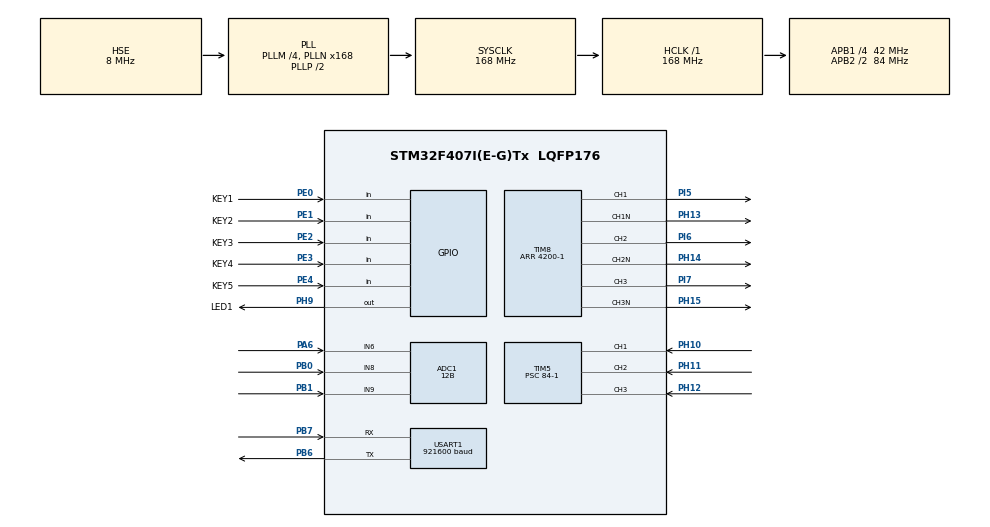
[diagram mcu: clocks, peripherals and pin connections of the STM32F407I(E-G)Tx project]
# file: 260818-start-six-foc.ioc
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ADC1.Channel-0\#ChannelRegularConversion=ADC_CHANNEL_6
ADC1.Channel-1\#ChannelRegularConversion=ADC_CHANNEL_8
ADC1.Channel-2\#ChannelRegularConversion=ADC_CHANNEL_9
ADC1.ClockPrescaler=ADC_CLOCK_SYNC_PCLK_DIV4
ADC1.ContinuousConvMode=DISABLE
ADC1.DMAContinuousRequests=DISABLE
ADC1.DataAlign=ADC_DATAALIGN_RIGHT
ADC1.DiscontinuousConvMode=DISABLE
ADC1.EOCSelection=ADC_EOC_SINGLE_CONV
ADC1.ExternalTrigConv=ADC_SOFTWARE_START
ADC1.ExternalTrigConvEdge=ADC_EXTERNALTRIGCONVEDGE_NONE
ADC1.NbrOfConversion=3
ADC1.NbrOfConversionFlag=1
ADC1.Rank-0\#ChannelRegularConversion=1
ADC1.Rank-1\#ChannelRegularConversion=2
ADC1.Rank-2\#ChannelRegularConversion=3
ADC1.Resolution=ADC_RESOLUTION_12B
ADC1.SamplingTime-0\#ChannelRegularConversion=ADC_SAMPLETIME_84CYCLES
ADC1.SamplingTime-1\#ChannelRegularConversion=ADC_SAMPLETIME_84CYCLES
ADC1.SamplingTime-2\#ChannelRegularConversion=ADC_SAMPLETIME_84CYCLES
ADC1.ScanConvMode=ENABLE
ADC1.master=1
Mcu.Family=STM32F4
Mcu.Name=STM32F407I(E-G)Tx
Mcu.Package=LQFP176
NVIC.PriorityGroup=NVIC_PRIORITYGROUP_4
NVIC.TIM5_IRQn=true\:0\:0\:false\:false\:true\:true\:true\:true
NVIC.TIM8_CC_IRQn=true\:0\:0\:false\:false\:true\:true\:true\:true
PA13.Mode=Serial_Wire
PA13.Signal=SYS_JTMS-SWDIO
PA14.Mode=Serial_Wire
PA14.Signal=SYS_JTCK-SWCLK
PA6.Signal=ADCx_IN6
PB0.Signal=ADCx_IN8
PB1.Signal=ADCx_IN9
PB6.Mode=Asynchronous
PB6.Signal=USART1_TX
PB7.Mode=Asynchronous
PB7.Signal=USART1_RX
PC14-OSC32_IN.Mode=LSE-External-Oscillator
PC14-OSC32_IN.Signal=RCC_OSC32_IN
PC15-OSC32_OUT.Mode=LSE-External-Oscillator
PC15-OSC32_OUT.Signal=RCC_OSC32_OUT
PE0.GPIO_Label=KEY1
PE0.GPIO_PuPd=GPIO_PULLUP
PE0.Signal=GPIO_Input
PE1.GPIO_Label=KEY2
PE1.GPIO_PuPd=GPIO_PULLUP
PE1.Signal=GPIO_Input
PE2.GPIO_Label=KEY3
PE2.GPIO_PuPd=GPIO_PULLUP
PE2.Signal=GPIO_Input
PE3.GPIO_Label=KEY4
PE3.GPIO_PuPd=GPIO_PULLUP
PE3.Signal=GPIO_Input
PE4.GPIO_Label=KEY5
PE4.GPIO_PuPd=GPIO_PULLUP
PE4.Signal=GPIO_Input
PH0-OSC_IN.Mode=HSE-External-Oscillator
PH0-OSC_IN.Signal=RCC_OSC_IN
PH1-OSC_OUT.Mode=HSE-External-Oscillator
PH1-OSC_OUT.Signal=RCC_OSC_OUT
PH10.Signal=S_TIM5_CH1
PH11.Signal=S_TIM5_CH2
PH12.Signal=S_TIM5_CH3
PH13.Mode=PWM Generation1 CH1 CH1N
PH13.Signal=TIM8_CH1N
PH14.Mode=PWM Generation2 CH2 CH2N
PH14.Signal=TIM8_CH2N
PH15.Mode=PWM Generation3 CH3 CH3N
PH15.Signal=TIM8_CH3N
PH9.GPIO_Label=LED1
PH9.Signal=GPIO_Output
PI5.Signal=S_TIM8_CH1
PI6.Signal=S_TIM8_CH2
PI7.Signal=S_TIM8_CH3
ProjectManager.HeapSize=0x200
ProjectManager.StackSize=0x400
ProjectManager.TargetToolchain=MDK-ARM V5.32
RCC.48MHZClocksFreq_Value=84000000
RCC.AHBFreq_Value=168000000
RCC.APB1CLKDivider=RCC_HCLK_DIV4
RCC.APB1Freq_Value=42000000
RCC.APB1TimFreq_Value=84000000
RCC.APB2CLKDivider=RCC_HCLK_DIV2
RCC.APB2Freq_Value=84000000
RCC.APB2TimFreq_Value=168000000
RCC.CortexFreq_Value=168000000
RCC.HCLKFreq_Value=168000000
RCC.HSE_VALUE=8000000
RCC.HSI_VALUE=16000000
RCC.PLLM=4
RCC.PLLN=168
RCC.PLLSourceVirtual=RCC_PLLSOURCE_HSE
RCC.SYSCLKFreq_VALUE=168000000
RCC.SYSCLKSource=RCC_SYSCLKSOURCE_PLLCLK
RCC.VCOOutputFreq_Value=336000000
SH.ADCx_IN6.0=ADC1_IN6,IN6
SH.ADCx_IN8.0=ADC1_IN8,IN8
SH.ADCx_IN9.0=ADC1_IN9,IN9
SH.S_TIM5_CH1.0=TIM5_CH1,Xored_Inputs_Hall_Sensor_Interface
SH.S_TIM5_CH2.0=TIM5_CH2,Xored_Inputs_Hall_Sensor_Interface
SH.S_TIM5_CH3.0=TIM5_CH3,Xored_Inputs_Hall_Sensor_Interface
SH.S_TIM8_CH1.0=TIM8_CH1,PWM Generation1 CH1 CH1N
SH.S_TIM8_CH2.0=TIM8_CH2,PWM Generation2 CH2 CH2N
SH.S_TIM8_CH3.0=TIM8_CH3,PWM Generation3 CH3 CH3N
TIM5.IC1Filter=15
TIM5.Prescaler=84-1
TIM8.Channel-PWM\ Generation1\ CH1\ CH1N=TIM_CHANNEL_1
TIM8.Channel-PWM\ Generation2\ CH2\ CH2N=TIM_CHANNEL_2
TIM8.Channel-PWM\ Generation3\ CH3\ CH3N=TIM_CHANNEL_3
TIM8.Channel-PWM\ Generation4\ No\ Output=TIM_CHANNEL_4
TIM8.CounterMode=TIM_COUNTERMODE_CENTERALIGNED1
TIM8.DeadTime=34
TIM8.OffStateIDLEMode=TIM_OSSI_ENABLE
TIM8.OffStateRunMode=TIM_OSSR_ENABLE
TIM8.Period=4200-1
USART1.BaudRate=921600
USART1.VirtualMode=VM_ASYNC
VP_TIM5_VS_ClockSourceINT.Mode=Internal
VP_TIM8_VS_no_output4.Mode=PWM Generation4 No Output
board=custom

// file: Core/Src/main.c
/* USER CODE BEGIN Header */
/**
  ******************************************************************************
  * @file           : main.c
  * @brief          : Main program body
  ******************************************************************************
  * @attention
  *
  * Copyright (c) 2026 STMicroelectronics.
  * All rights reserved.
  *
  * This software is licensed under terms that can be found in the LICENSE file
  * in the root directory of this software component.
  * If no LICENSE file comes with this software, it is provided AS-IS.
  *
  ******************************************************************************
  */
/* USER CODE END Header */
#include "main.h"
#include "adc.h"
#include "tim.h"
#include "usart.h"
#include "gpio.h"

/* USER CODE BEGIN Includes */
#include <math.h>
/* USER CODE END Includes */

/* USER CODE BEGIN PD */
#define TWO_PI                 6.2831853f
#define SIN_60                 0.8660254f // sqrt(3) / 2
#define COS_60                 0.5f
#define SQRT_3                 1.7320508f // 根号 3

/* USER CODE END PD */

/* USER CODE BEGIN PV */
volatile float theta = 0.0f;  // 电角度，单位：弧度
float frequency = 1.0f;       // 电频率，1 Hz = 电角度每秒转一圈
float voltage = 1.0f;         // 电压矢量幅值，单位 V
volatile float Ualpha = 0.0f;
volatile float Ubeta  = 0.0f;
float U1, U2, U3;
uint8_t N;
volatile uint8_t sector;
float Udc = 18.0f;          // 母线电压，单位 V
float k;
volatile float Tx, Ty, T0;  // 占整个 PWM 周期的时间比例
volatile float dutyA, dutyB, dutyC; // 三相上桥臂占空比
volatile uint8_t motor_request = 0; // while 写请求，中断执行：0 停止，1 运行
/* USER CODE END PV */

void SystemClock_Config(void);

int main(void)
{

  /* MCU Configuration--------------------------------------------------------*/

  /* Reset of all peripherals, Initializes the Flash interface and the Systick. */
  HAL_Init();

  /* Configure the system clock */
  SystemClock_Config();

  /* Initialize all configured peripherals */
  MX_GPIO_Init();
  MX_TIM8_Init();
  MX_USART1_UART_Init();
  MX_TIM5_Init();
  MX_ADC1_Init();
  /* USER CODE BEGIN 2 */
  /* 默认关闭功率级，等SVPWM参数准备完成后再启动。 */
  HAL_GPIO_WritePin(LED1_GPIO_Port, LED1_Pin, GPIO_PIN_RESET);
  __HAL_TIM_SET_COMPARE(&htim8, TIM_CHANNEL_4, 4198);
  HAL_TIM_PWM_Start_IT(&htim8, TIM_CHANNEL_4);

	HAL_TIM_PWM_Start(&htim8, TIM_CHANNEL_1);
HAL_TIMEx_PWMN_Start(&htim8, TIM_CHANNEL_1);

HAL_TIM_PWM_Start(&htim8, TIM_CHANNEL_2);
HAL_TIMEx_PWMN_Start(&htim8, TIM_CHANNEL_2);

HAL_TIM_PWM_Start(&htim8, TIM_CHANNEL_3);
HAL_TIMEx_PWMN_Start(&htim8, TIM_CHANNEL_3);

//	HAL_GPIO_WritePin(LED1_GPIO_Port, LED1_Pin, GPIO_PIN_SET);
  /* USER CODE END 2 */

  /* Infinite loop */
  while (1)
  {

    /* USER CODE BEGIN 3 */
    static uint8_t key_armed = 0;

    /* KEY1：PE0，松开为高，按下为低；硬件已消抖。 */
    if (HAL_GPIO_ReadPin(KEY1_GPIO_Port, KEY1_Pin) == GPIO_PIN_SET)
    {
        key_armed = 1;
    }
    else if ((HAL_GPIO_ReadPin(KEY1_GPIO_Port, KEY1_Pin) == GPIO_PIN_RESET) &&
             (key_armed == 1))
    {
        key_armed = 0;
        motor_request = !motor_request;
    }

    HAL_Delay(20); // 按键轮询间隔，不阻止 TIM8 中断
  }
  /* USER CODE END 3 */
}

void SystemClock_Config(void)
{
  RCC_OscInitTypeDef RCC_OscInitStruct = {0};
  RCC_ClkInitTypeDef RCC_ClkInitStruct = {0};

  /** Configure the main internal regulator output voltage
  */
  __HAL_RCC_PWR_CLK_ENABLE();
  __HAL_PWR_VOLTAGESCALING_CONFIG(PWR_REGULATOR_VOLTAGE_SCALE1);

  /** Initializes the RCC Oscillators according to the specified parameters
  * in the RCC_OscInitTypeDef structure.
  */
  RCC_OscInitStruct.OscillatorType = RCC_OSCILLATORTYPE_HSE;
  RCC_OscInitStruct.HSEState = RCC_HSE_ON;
  RCC_OscInitStruct.PLL.PLLState = RCC_PLL_ON;
  RCC_OscInitStruct.PLL.PLLSource = RCC_PLLSOURCE_HSE;
  RCC_OscInitStruct.PLL.PLLM = 4;
  RCC_OscInitStruct.PLL.PLLN = 168;
  RCC_OscInitStruct.PLL.PLLP = RCC_PLLP_DIV2;
  RCC_OscInitStruct.PLL.PLLQ = 4;
  if (HAL_RCC_OscConfig(&RCC_OscInitStruct) != HAL_OK)
  {
    Error_Handler();
  }

  /** Initializes the CPU, AHB and APB buses clocks
  */
  RCC_ClkInitStruct.ClockType = RCC_CLOCKTYPE_HCLK|RCC_CLOCKTYPE_SYSCLK
                              |RCC_CLOCKTYPE_PCLK1|RCC_CLOCKTYPE_PCLK2;
  RCC_ClkInitStruct.SYSCLKSource = RCC_SYSCLKSOURCE_PLLCLK;
  RCC_ClkInitStruct.AHBCLKDivider = RCC_SYSCLK_DIV1;
  RCC_ClkInitStruct.APB1CLKDivider = RCC_HCLK_DIV4;
  RCC_ClkInitStruct.APB2CLKDivider = RCC_HCLK_DIV2;

  if (HAL_RCC_ClockConfig(&RCC_ClkInitStruct, FLASH_LATENCY_5) != HAL_OK)
  {
    Error_Handler();
  }
}

/* USER CODE BEGIN 4 */
void HAL_TIM_PWM_PulseFinishedCallback(TIM_HandleTypeDef *htim)
{
    if ((htim->Instance == TIM8) &&
        (htim->Channel == HAL_TIM_ACTIVE_CHANNEL_4))
    {
        static uint8_t pwm_prepared = 0;

        if (motor_request == 0)
        {
            /* 关闭功率级，定时器仍然运行。 */
            HAL_GPIO_WritePin(LED1_GPIO_Port, LED1_Pin, GPIO_PIN_RESET);
            pwm_prepared = 0;
            theta = 0.0f;
            return;
        }

        if (pwm_prepared == 0)
        {
            /* 第一次先保持关闭，用零角度计算下面的三路 CCR。 */
            HAL_GPIO_WritePin(LED1_GPIO_Port, LED1_Pin, GPIO_PIN_RESET);
            theta = 0.0f;
            pwm_prepared = 1;
        }
        else
        {
            /* 下一次 CH4 中断，上一组 CCR 已经过更新事件装载。 */
            HAL_GPIO_WritePin(LED1_GPIO_Port, LED1_Pin, GPIO_PIN_SET);
            theta += TWO_PI * frequency / 20000.0f;
        }

			if (theta >= TWO_PI)
			{
				theta -= TWO_PI;
			}

			Ualpha = voltage * cosf(theta);
			Ubeta  = voltage * sinf(theta);

			U1 = Ubeta;
			U2 =  SIN_60 * Ualpha - COS_60 * Ubeta;
			U3 = -SIN_60 * Ualpha - COS_60 * Ubeta;

			N = 0;
			if (U1 > 0.0f) N += 1;
			if (U2 > 0.0f) N += 2;
			if (U3 > 0.0f) N += 4;

			k = SQRT_3 / Udc;

			switch (N)
			{
					case 3:
							sector = 1;
							Tx = k * U2;
							Ty = k * U1;
							break;

					case 1:
							sector = 2;
							Tx = -k * U2;
							Ty = -k * U3;
							break;

					case 5:
							sector = 3;
							Tx = k * U1;
							Ty = k * U3;
							break;

					case 4:
							sector = 4;
							Tx = -k * U1;
							Ty = -k * U2;
							break;

					case 6:
							sector = 5;
							Tx = k * U3;
							Ty = k * U2;
							break;

					case 2:
							sector = 6;
							Tx = -k * U3;
							Ty = -k * U1;
							break;

					default:
							sector = 0;
							Tx = 0.0f;
							Ty = 0.0f;
							break;
			}
			T0 = 1.0f - Tx - Ty;

			/* 零矢量时间均分给 000 和 111，再累加有效矢量时间。 */
			switch (sector)
			{
					case 1:
							dutyC = T0 / 2.0f;
							dutyB = dutyC + Ty;
							dutyA = dutyB + Tx;
							break;

					case 2:
							dutyC = T0 / 2.0f;
							dutyA = dutyC + Ty;
							dutyB = dutyA + Tx;
							break;

					case 3:
							dutyA = T0 / 2.0f;
							dutyC = dutyA + Ty;
							dutyB = dutyC + Tx;
							break;

					case 4:
							dutyA = T0 / 2.0f;
							dutyB = dutyA + Ty;
							dutyC = dutyB + Tx;
							break;

					case 5:
							dutyB = T0 / 2.0f;
							dutyA = dutyB + Ty;
							dutyC = dutyA + Tx;
							break;

					case 6:
							dutyB = T0 / 2.0f;
							dutyC = dutyB + Ty;
							dutyA = dutyC + Tx;
							break;

					default:
							dutyA = 0.0f;
							dutyB = 0.0f;
							dutyC = 0.0f;
							break;
			}

			/* 占空比换算成比较值，功率级由上面的启停逻辑控制。 */
			__HAL_TIM_SET_COMPARE(&htim8, TIM_CHANNEL_1,
					(uint32_t)(dutyA * __HAL_TIM_GET_AUTORELOAD(&htim8)));
			__HAL_TIM_SET_COMPARE(&htim8, TIM_CHANNEL_2,
					(uint32_t)(dutyB * __HAL_TIM_GET_AUTORELOAD(&htim8)));
			__HAL_TIM_SET_COMPARE(&htim8, TIM_CHANNEL_3,
					(uint32_t)(dutyC * __HAL_TIM_GET_AUTORELOAD(&htim8)));
    }
}
/* USER CODE END 4 */

void Error_Handler(void)
{
  __disable_irq();
  while (1)
  {
  }
}
